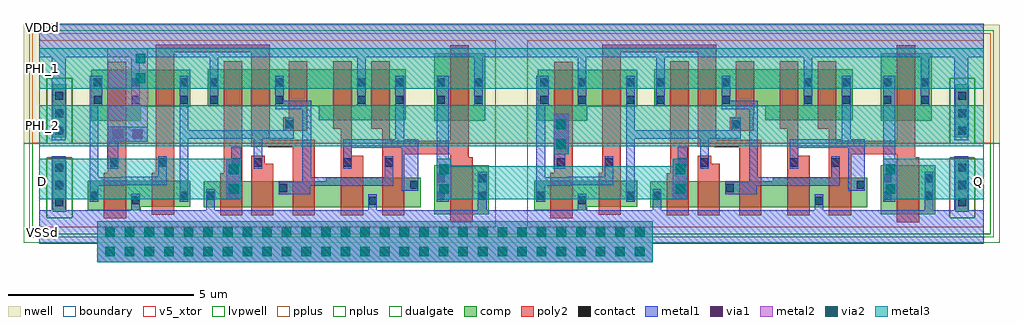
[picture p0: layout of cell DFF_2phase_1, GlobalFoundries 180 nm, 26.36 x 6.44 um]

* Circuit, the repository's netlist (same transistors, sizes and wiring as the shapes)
* NGSPICE file created from DFF_2phase_1.ext - technology: gf180mcuD

.subckt gf180mcu_fd_sc_mcu9t5v0__latq_1 D E Q VDD VSS VNW VPW
X0 VSS a_1020_652# Q VPW nfet_05v0 ad=0.5808p pd=3.52u as=0.5808p ps=3.52u w=1.32u l=0.6u
X1 a_504_110# a_36_92# VDD VNW pfet_05v0 ad=0.44p pd=2.88u as=0.476p ps=2.18u w=1u l=0.5u
X2 VDD a_1020_652# Q VNW pfet_05v0 ad=0.8052p pd=4.54u as=0.8052p ps=4.54u w=1.83u l=0.5u
X3 a_1264_107# a_36_92# a_1020_652# VPW nfet_05v0 ad=0.263p pd=1.49u as=0.182p ps=1.22u w=0.7u l=0.6u
X4 VSS E a_36_92# VPW nfet_05v0 ad=0.263p pd=1.49u as=0.3476p ps=2.46u w=0.79u l=0.6u
X5 VSS a_1364_532# a_1264_107# VPW nfet_05v0 ad=0.2054p pd=1.31u as=0.263p ps=1.49u w=0.79u l=0.6u
X6 VDD E a_36_92# VNW pfet_05v0 ad=0.476p pd=2.18u as=0.6072p ps=3.64u w=1.38u l=0.5u
X7 VDD a_1364_532# a_1224_652# VNW pfet_05v0 ad=0.3588p pd=1.9u as=0.426p ps=2.08u w=1.38u l=0.5u
X8 a_872_652# D VDD VNW pfet_05v0 ad=0.12p pd=1.24u as=0.44p ps=2.88u w=1u l=0.5u
X9 a_1364_532# a_1020_652# VDD VNW pfet_05v0 ad=0.6072p pd=3.64u as=0.3588p ps=1.9u w=1.38u l=0.5u
X10 a_1020_652# a_504_110# a_872_107# VPW nfet_05v0 ad=0.182p pd=1.22u as=83.99999f ps=0.94u w=0.7u l=0.6u
X11 a_872_107# D VSS VPW nfet_05v0 ad=83.99999f pd=0.94u as=0.308p ps=2.28u w=0.7u l=0.6u
X12 a_1020_652# a_36_92# a_872_652# VNW pfet_05v0 ad=0.26p pd=1.52u as=0.12p ps=1.24u w=1u l=0.5u
X13 a_504_110# a_36_92# VSS VPW nfet_05v0 ad=0.308p pd=2.28u as=0.263p ps=1.49u w=0.7u l=0.6u
X14 a_1364_532# a_1020_652# VSS VPW nfet_05v0 ad=0.3476p pd=2.46u as=0.2054p ps=1.31u w=0.79u l=0.6u
X15 a_1224_652# a_504_110# a_1020_652# VNW pfet_05v0 ad=0.426p pd=2.08u as=0.26p ps=1.52u w=1u l=0.5u
.ends

.subckt DFF_2phase_1 VDDd VSSd PHI_1 PHI_2 D Q
Xgf180mcu_fd_sc_mcu9t5v0__latq_1_0 gf180mcu_fd_sc_mcu9t5v0__latq_1_1/Q PHI_2 Q VDDd
+ VSSd VDDd VSSd gf180mcu_fd_sc_mcu9t5v0__latq_1
Xgf180mcu_fd_sc_mcu9t5v0__latq_1_1 D PHI_1 gf180mcu_fd_sc_mcu9t5v0__latq_1_1/Q VDDd
+ VSSd VDDd VSSd gf180mcu_fd_sc_mcu9t5v0__latq_1
.ends

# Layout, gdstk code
from math import pi, radians
import gdstk
lib = gdstk.Library(unit=1e-6, precision=5e-09)
def R(c, l, rs):  # rectangles x0, y0, x1, y1
    for r in rs: c.add(gdstk.rectangle(r[:2], r[2:], *l))
def A(c, l, x, y, w, h, nx, ny, dx, dy):  # array of equal rectangles
    R(c, l, [(x+i*dx, y+j*dy, x+i*dx+w, y+j*dy+h) for i in range(nx) for j in range(ny)])
def P(c, l, *ps):  # polygons
    for p in ps: c.add(gdstk.Polygon(p, *l))
boundary = (0, 0)
nwell = (21, 0)
comp = (22, 0)
poly2 = (30, 0)
pplus = (31, 0)
nplus = (32, 0)
contact = (33, 0)
metal1 = (34, 0)
via1 = (35, 0)
metal2 = (36, 0)
via2 = (38, 0)
metal3 = (42, 0)
dualgate = (55, 0)
v5_xtor = (112, 1)
lvpwell = (204, 0)

gf180mcu_fd_sc_mcu9t5v0_ = lib.new_cell('gf180mcu_fd_sc_mcu9t5v0__latq_1')
R(gf180mcu_fd_sc_mcu9t5v0_, boundary, [(0,0,11.2,5.04)])
R(gf180mcu_fd_sc_mcu9t5v0_, nwell, [(-0.43,2.265,11.63,5.47)])
R(gf180mcu_fd_sc_mcu9t5v0_, comp, [(9.54,0.345,11.02,1.665), (9.54,2.865,10.92,4.695)])
P(gf180mcu_fd_sc_mcu9t5v0_, comp, [(0.18,0.46),(0.18,1.25),(2.96,1.25),(2.96,0.55),(1.62,0.55),(1.62,0.46)],
  [(0.28,2.865),(0.28,4.245),(2.96,4.245),(2.96,3.245),(1.62,3.245),(1.62,2.865)],
  [(6.42,2.88),(6.42,3.26),(3.42,3.26),(3.42,4.26),(8.78,4.26),(8.78,2.88)],
  [(3.32,0.535),(3.32,1.235),(6.62,1.235),(6.62,1.325),(9.18,1.325),(9.18,0.535)])
P(gf180mcu_fd_sc_mcu9t5v0_, poly2, [(0.62,0.24),(0.62,1.47),(0.72,1.47),(0.72,4.465),(1.22,4.465),(1.22,0.24)],
  [(3.76,0.315),(3.76,1.455),(3.86,1.455),(3.86,4.48),(4.36,4.48),(4.36,0.315)],
  [(4.6,0.315),(4.6,1.925),(4.96,1.925),(4.96,1.715),(5.2,1.715),(5.2,0.315)],
  [(5.46,2.6),(5.46,2.96),(5.62,2.96),(5.62,4.48),(6.12,4.48),(6.12,3.04),(6.115,3.04),(6.115,2.6)],
  [(5.72,0.315),(5.72,2.16),(5.055,2.16),(5.055,2.165),(4.6,2.165),(4.6,4.72),(2.52,4.72),(2.52,0.33),(1.92,0.33),(1.92,1.47),(2.02,1.47),(2.02,4.92),(5.1,4.92),(5.1,2.36),(6.32,2.36),(6.32,0.315)],
  [(7.02,0.315),(7.02,2.66),(6.82,2.66),(6.82,4.48),(7.32,4.48),(7.32,1.925),(7.62,1.925),(7.62,0.315)],
  [(9.98,0.125),(9.98,1.965),(8.74,1.965),(8.74,0.315),(8.14,0.315),(8.14,2.66),(7.84,2.66),(7.84,4.48),(8.34,4.48),(8.34,2.325),(9.98,2.325),(9.98,4.915),(10.48,4.915),(10.48,1.885),(10.58,1.885),(10.58,0.125)])
R(gf180mcu_fd_sc_mcu9t5v0_, pplus, [(-0.2,2.265,11.4,5.24)])
R(gf180mcu_fd_sc_mcu9t5v0_, nplus, [(-0.2,-0.2,11.4,2.265)])
R(gf180mcu_fd_sc_mcu9t5v0_, contact, [(7.77,0.605,7.99,0.825), (1.37,0.615,1.59,0.835), (0.25,0.74,0.47,0.96), (2.67,0.74,2.89,0.96), (3.39,0.74,3.61,0.96), (9.61,0.74,9.83,0.96), (10.73,0.74,10.95,0.96), (5.35,0.945,5.57,1.165), (8.89,1.035,9.11,1.255), (9.61,1.21,9.83,1.43), (10.73,1.21,10.95,1.43), (0.79,1.635,1.01,1.855), (2.09,1.635,2.31,1.855), (4.07,1.635,4.29,1.855), (4.67,1.635,4.89,1.855), (7.09,1.635,7.31,1.855), (8.21,1.635,8.43,1.855), (5.53,2.67,5.75,2.89), (0.35,3.33,0.57,3.55), (1.37,3.33,1.59,3.55), (2.67,3.33,2.89,3.55), (3.49,3.33,3.71,3.55), (5.25,3.33,5.47,3.55), (7.47,3.33,7.69,3.55), (8.49,3.33,8.71,3.55), (9.61,3.33,9.83,3.55), (10.63,3.33,10.85,3.55), (0.35,3.8,0.57,4.02), (1.37,3.8,1.59,4.02), (2.67,3.8,2.89,4.02), (3.49,3.8,3.71,4.02), (5.25,3.8,5.47,4.02), (7.47,3.8,7.69,4.02), (8.49,3.8,8.71,4.02), (9.61,3.8,9.83,4.02), (10.63,3.8,10.85,4.02)])
R(gf180mcu_fd_sc_mcu9t5v0_, metal1, [(9.605,0.68,9.93,4.08), (4.065,1.21,4.33,2.15), (0.71,1.575,1.015,2.71)])
P(gf180mcu_fd_sc_mcu9t5v0_, metal1, [(0.245,0.68),(0.245,4.08),(0.575,4.08),(0.575,3.27),(0.475,3.27),(0.475,1.345),(1.085,1.345),(1.085,1.355),(2.085,1.355),(2.085,1.915),(2.315,1.915),(2.315,1.125),(1.155,1.125),(1.155,1.115),(0.475,1.115),(0.475,0.68)],
  [(2.665,0.68),(2.665,4.08),(2.895,4.08),(2.895,2.61),(5.525,2.61),(5.525,2.95),(5.755,2.95),(5.755,2.38),(4.895,2.38),(4.895,1.575),(4.665,1.575),(4.665,2.38),(2.895,2.38),(2.895,0.68)],
  [(5.345,0.885),(5.345,1.225),(5.985,1.225),(5.985,3.18),(5.245,3.18),(5.245,4.08),(5.475,4.08),(5.475,3.41),(6.215,3.41),(6.215,1.345),(8.205,1.345),(8.205,1.915),(8.435,1.915),(8.435,1.115),(6.19,1.115),(6.19,0.885)],
  [(8.665,0.975),(8.665,2.145),(7.315,2.145),(7.315,1.575),(7.085,1.575),(7.085,2.375),(8.485,2.375),(8.485,4.08),(8.735,4.08),(8.735,2.365),(9.115,2.365),(9.115,0.975)],
  [(0,-0.45),(0,0.45),(1.365,0.45),(1.365,0.895),(1.595,0.895),(1.595,0.45),(3.385,0.45),(3.385,1.02),(3.615,1.02),(3.615,0.45),(7.765,0.45),(7.765,0.885),(7.995,0.885),(7.995,0.45),(10.725,0.45),(10.725,1.49),(10.955,1.49),(10.955,0.45),(11.2,0.45),(11.2,-0.45)],
  [(1.365,3.27),(1.365,4.59),(0,4.59),(0,5.49),(11.2,5.49),(11.2,4.59),(10.855,4.59),(10.855,3.27),(10.625,3.27),(10.625,4.59),(7.695,4.59),(7.695,3.27),(7.465,3.27),(7.465,4.59),(3.715,4.59),(3.715,3.27),(3.485,3.27),(3.485,4.59),(1.595,4.59),(1.595,3.27)])
R(gf180mcu_fd_sc_mcu9t5v0_, dualgate, [(-0.28,-0.28,11.48,5.32)])
R(gf180mcu_fd_sc_mcu9t5v0_, v5_xtor, [(0,0,11.2,5.04)])
R(gf180mcu_fd_sc_mcu9t5v0_, lvpwell, [(-0.43,-0.43,11.63,2.265)])
gf180mcu_fd_sc_mcu9t5v0_.add(gdstk.Label('D', (4.2,1.4), layer=34, texttype=10))
gf180mcu_fd_sc_mcu9t5v0_.add(gdstk.Label('E', (0.84,1.96), layer=34, texttype=10))
gf180mcu_fd_sc_mcu9t5v0_.add(gdstk.Label('Q', (9.8,2.52), layer=34, texttype=10))
gf180mcu_fd_sc_mcu9t5v0_.add(gdstk.Label('VDD', (5.6,5.49), layer=34, texttype=10))
gf180mcu_fd_sc_mcu9t5v0_.add(gdstk.Label('VSS', (5.6,-0.45), layer=34, texttype=10))
gf180mcu_fd_sc_mcu9t5v0_.add(gdstk.Label('& Vendor GLOBALFOUNDRIES', (0,2), layer=63, texttype=63))
gf180mcu_fd_sc_mcu9t5v0_.add(gdstk.Label('& Product GF018hv5v_green_sc9', (0,1.5), layer=63, texttype=63))
gf180mcu_fd_sc_mcu9t5v0_.add(gdstk.Label('& Version 2015q2v2', (0,1), layer=63, texttype=63))
gf180mcu_fd_sc_mcu9t5v0_.add(gdstk.Label('& Metric 1.00', (0,0.5), layer=63, texttype=63))
gf180mcu_fd_sc_mcu9t5v0_.add(gdstk.Label('VNW', (0.345,3.92), layer=21, texttype=10))
gf180mcu_fd_sc_mcu9t5v0_.add(gdstk.Label('VPW', (0.34,-0.085), layer=204, texttype=10))

via_dev_1 = lib.new_cell('via_dev$1')
R(via_dev_1, metal1, [(0,0,0.4,1.1)])
R(via_dev_1, via1, [(0.07,0.155,0.33,0.415), (0.07,0.685,0.33,0.945)])
R(via_dev_1, metal2, [(0,0,0.4,1.1)])

c_gf180mcu_fd_sc_mcu9t5v0_ = lib.new_cell('gf180mcu_fd_sc_mcu9t5v0__filltie')
R(c_gf180mcu_fd_sc_mcu9t5v0_, boundary, [(0,0,1.12,5.04)])
R(c_gf180mcu_fd_sc_mcu9t5v0_, nwell, [(-0.43,2.265,1.55,5.47)])
R(c_gf180mcu_fd_sc_mcu9t5v0_, comp, [(0.36,0.41,0.72,1.785), (0.36,2.425,0.72,3.855)])
R(c_gf180mcu_fd_sc_mcu9t5v0_, pplus, [(0.2,0.25,0.88,1.865)])
P(c_gf180mcu_fd_sc_mcu9t5v0_, pplus, [(-0.2,2.265),(-0.2,5.24),(1.32,5.24),(1.32,2.265),(0.88,2.265),(0.88,4.015),(0.2,4.015),(0.2,2.265)])
P(c_gf180mcu_fd_sc_mcu9t5v0_, nplus, [(-0.2,-0.2),(-0.2,2.265),(0.2,2.265),(0.2,4.015),(0.88,4.015),(0.88,1.865),(0.2,1.865),(0.2,0.25),(0.88,0.25),(0.88,4.015),(0.88,2.265),(1.32,2.265),(1.32,-0.2)])
A(c_gf180mcu_fd_sc_mcu9t5v0_, contact, 0.43, 0.555, 0.22, 0.22, 1, 3, 0, 0.47)
A(c_gf180mcu_fd_sc_mcu9t5v0_, contact, 0.43, 2.495, 0.22, 0.22, 1, 3, 0, 0.47)
P(c_gf180mcu_fd_sc_mcu9t5v0_, metal1, [(0,-0.45),(0,0.45),(0.33,0.45),(0.33,1.91),(0.71,1.91),(0.71,0.45),(1.12,0.45),(1.12,-0.45)],
  [(0.33,2.34),(0.33,4.59),(0,4.59),(0,5.49),(1.12,5.49),(1.12,4.59),(0.71,4.59),(0.71,2.34)])
R(c_gf180mcu_fd_sc_mcu9t5v0_, dualgate, [(-0.28,-0.28,1.4,5.32)])
R(c_gf180mcu_fd_sc_mcu9t5v0_, v5_xtor, [(0,0,1.12,5.04)])
R(c_gf180mcu_fd_sc_mcu9t5v0_, lvpwell, [(-0.43,-0.43,1.55,2.265)])
c_gf180mcu_fd_sc_mcu9t5v0_.add(gdstk.Label('VSS', (0.56,-0.45), layer=34, texttype=10))
c_gf180mcu_fd_sc_mcu9t5v0_.add(gdstk.Label('VDD', (0.56,5.49), layer=34, texttype=10))
c_gf180mcu_fd_sc_mcu9t5v0_.add(gdstk.Label('& Vendor GLOBALFOUNDRIES', (0,2), layer=63, texttype=63))
c_gf180mcu_fd_sc_mcu9t5v0_.add(gdstk.Label('& Product GF018hv5v_green_sc9', (0,1.5), layer=63, texttype=63))
c_gf180mcu_fd_sc_mcu9t5v0_.add(gdstk.Label('& Version 2015q2v2', (0,1), layer=63, texttype=63))
c_gf180mcu_fd_sc_mcu9t5v0_.add(gdstk.Label('& Metric 1.00', (0,0.5), layer=63, texttype=63))

via_dev_2 = lib.new_cell('via_dev$2')
R(via_dev_2, metal2, [(0,0,0.4,1.1)])
R(via_dev_2, via2, [(0.07,0.155,0.33,0.415), (0.07,0.685,0.33,0.945)])
R(via_dev_2, metal3, [(0,0,0.4,1.1)])

via_dev = lib.new_cell('via_dev')
R(via_dev, metal1, [(0,0,0.4,1.1)])
R(via_dev, via1, [(0.07,0.155,0.33,0.415), (0.07,0.685,0.33,0.945)])
R(via_dev, metal2, [(0,0,0.4,1.1)])
R(via_dev, via2, [(0.07,0.155,0.33,0.415), (0.07,0.685,0.33,0.945)])
R(via_dev, metal3, [(0,0,0.4,1.1)])

via_dev_5 = lib.new_cell('via_dev$5')
R(via_dev_5, metal1, [(0,0,1.1,15)])
A(via_dev_5, via1, 0.155, 0.215, 0.26, 0.26, 1, 28, 0, 0.53)
A(via_dev_5, via1, 0.685, 0.215, 0.26, 0.26, 1, 28, 0, 0.53)
R(via_dev_5, metal2, [(0,0,1.1,15)])
A(via_dev_5, via2, 0.155, 0.215, 0.26, 0.26, 1, 28, 0, 0.53)
A(via_dev_5, via2, 0.685, 0.215, 0.26, 0.26, 1, 28, 0, 0.53)
R(via_dev_5, metal3, [(0,0,1.1,15)])

dff_2phase_1 = lib.new_cell('DFF_2phase_1')
R(dff_2phase_1, pplus, [(11.4,2.265,11.86,5.24)])
R(dff_2phase_1, nplus, [(11.4,-0.2,11.86,2.265)])
R(dff_2phase_1, metal1, [(11.2,-0.45,12.06,0.45), (11.2,4.59,12.06,5.49)])
R(dff_2phase_1, metal2, [(0.71,2.31,1.81,4.835)])
R(dff_2phase_1, metal3, [(-1.12,0.745,4.33,1.845), (9.605,0.745,16.39,1.645), (21.665,0.745,24.38,1.845), (-1.12,2.185,24.38,3.285), (-1.12,3.735,24.38,4.835)])
R(dff_2phase_1, dualgate, [(11.48,-0.28,11.78,5.32)])
dff_2phase_1.add(gdstk.Reference(gf180mcu_fd_sc_mcu9t5v0_, (0,0)))
dff_2phase_1.add(gdstk.Reference(via_dev_1, (1.81,2.31), rotation=pi/2))
dff_2phase_1.add(gdstk.Reference(c_gf180mcu_fd_sc_mcu9t5v0_, (-1.12,0)))
dff_2phase_1.add(gdstk.Reference(c_gf180mcu_fd_sc_mcu9t5v0_, (23.26,0)))
dff_2phase_1.add(gdstk.Reference(gf180mcu_fd_sc_mcu9t5v0_, (12.06,0)))
dff_2phase_1.add(gdstk.Reference(via_dev_2, (1.81,4.835), rotation=pi))
dff_2phase_1.add(gdstk.Reference(via_dev, (13.17,3.06), rotation=pi))
dff_2phase_1.add(gdstk.Reference(via_dev, (4.33,1.845), rotation=pi))
dff_2phase_1.add(gdstk.Reference(via_dev, (10.005,1.845), rotation=pi))
dff_2phase_1.add(gdstk.Reference(via_dev, (16.39,1.845), rotation=pi))
dff_2phase_1.add(gdstk.Reference(via_dev, (22.065,1.845), rotation=pi))
dff_2phase_1.add(gdstk.Reference(via_dev_5, (0.44,0.15), rotation=3*pi/2))
dff_2phase_1.add(gdstk.Label('VDDd', (-1.025,5.39), layer=34, texttype=10))
dff_2phase_1.add(gdstk.Label('VSSd', (-1.025,-0.155), layer=34, texttype=10))
dff_2phase_1.add(gdstk.Label('PHI_1', (-1.025,4.29), layer=42, texttype=10))
dff_2phase_1.add(gdstk.Label('PHI_2', (-1.025,2.74), layer=42, texttype=10))
dff_2phase_1.add(gdstk.Label('D', (-1.025,1.24), layer=42, texttype=10))
dff_2phase_1.add(gdstk.Label('Q', (24.245,1.24), layer=42, texttype=10))

lib.write_gds('DFF_2phase_1.gds')
